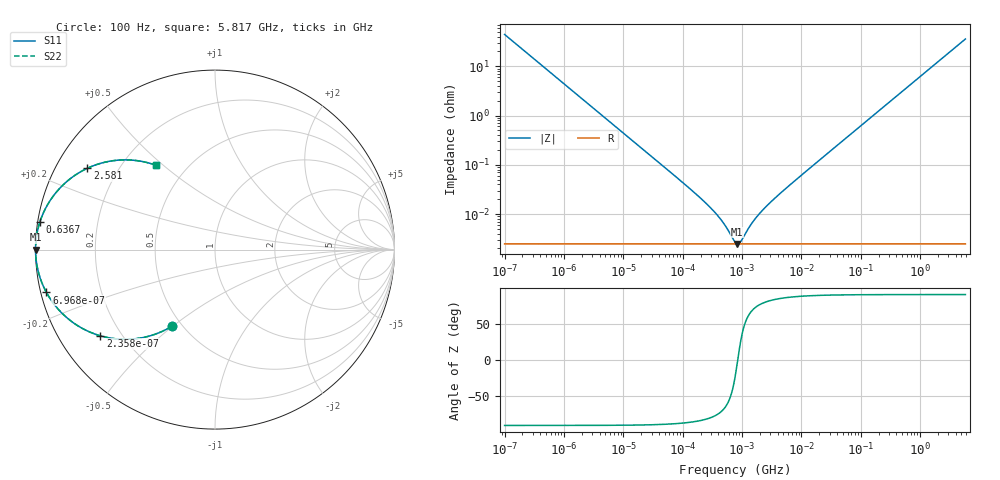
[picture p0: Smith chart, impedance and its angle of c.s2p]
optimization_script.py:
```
import math
import numpy as np
from matplotlib import pyplot
from scipy.optimize import curve_fit
import skrf as rf
from pylab import *
import subprocess
from scipy.optimize import minimize
import os
from reportlab.pdfgen.canvas import Canvas
from reportlab.pdfbase import pdfdoc
from scipy.interpolate import interp1d
import datetime



# Modify the circuit files to adjust the number of generated frequency points
def modifyCircuitFile(path):
    with open(path, 'r') as file:
        lines = file.readlines()

    index = 0
    for line in lines:
        if line.startswith('.sp'):
            lines[index] = '.sp dec 51 100 6G\n'
        
        index += 1

    with open(path, 'w') as file:
        file.writelines(lines)

    return None


# Generates the error based on the difference between the absolute value of the target and generated Z params
# The function is minimized later in the code as part of the optimization of the generated Z params
def s_param_error_RLC(x):
    R = x[0]
    L = x[1]
    C = x[2]

    params_path = ngspice + 'param.txt'
    with open(params_path, 'w') as paramf:
        paramf.write('.param C=%.20f L=%.20f R=%.20f' % (C, L, R))
    
    subprocess.call('ngspice.exe C.cir', shell=True)

    test_z21 = circuitCalculations()

    test_z21 = np.abs(test_z21)
    target_z = np.abs(z)
    error = np.abs(target_z - test_z21)

    return np.sum(error)


# Generates the error for the complex circuit model
def s_param_error_complex(x):
    Cnom = x[0]
    Rlfloss = x[1]
    Lmount = x[2]
    Rhfskin = x[3]
    Lhfskin = x[4]
    Rmfskin = x[5]
    Llfskin = x[6]
    Rlfskin = x[7]

    params_path = ngspice + 'paramcomplex.txt'
    with open(params_path, 'w') as paramf:
        paramf.write('.param Cnom=%.20f Rlfloss=%.20f Lmount=%.20f Rhfskin=%.20f Lhfskin=%.20f Rmfskin=%.20f Llfskin=%.20f Rlfskin=%.20f' % (Cnom, Rlfloss, Lmount, Rhfskin, Lhfskin, Rmfskin, Llfskin, Rlfskin))

    subprocess.call('ngspice.exe C_complex.cir', shell=True)

    test_z21 = circuitCalculations()

    test_z21 = np.abs(test_z21)
    target_z = np.abs(z)
    error = np.abs(target_z - test_z21)

    return np.sum(error)


# Given the parameters, generates graphs to be used in the PDF report as PNG images
# Defined as a function to avoid boilerplate due to large number of images
def plotGraph(noPlots, title, x, y, label, name, oPlot):
    pyplot.title(title)

    for i in range(noPlots):
        plotLines = '-'
        if oPlot == 1 and i % 2 == 0:
            plotLines = 'o'
        pyplot.plot(x[i], y[i], plotLines, label=label[i])

    pyplot.legend(loc='best')

    pyplot.xlabel('Frequency[Hz]')
    pyplot.ylabel('Impedance[Ohm]')
    pyplot.xscale('log')
    pyplot.yscale('log')
    pyplot.grid()

    pyplot.savefig(name, dpi=300)

    pyplot.clf()
    return None


# Given a path to the S params file, interpolates the values based on the frequencies and converts to absolute Z value, if the model is series
# Again, defined as a function to avoid boilerplate and clean the code up a bit
def getZSeries(path):
    ntwk = rf.Network(path)
    f = ntwk.f
    s = ntwk.s

    s11_interp = interp1d(f, s[:, 0, 0], kind='cubic')
    s12_interp = interp1d(f, s[:, 0, 1], kind='cubic')
    s21_interp = interp1d(f, s[:, 1, 0], kind='cubic')
    s22_interp = interp1d(f, s[:, 1, 1], kind='cubic')

    start_index = math.log10(f[0])
    stop_index = math.log10(f[-1])
    f = np.logspace(start_index, stop_index, 397, base=10)
    f[-1] -= 1

    s_params_interp = np.zeros((len(f), 2, 2), dtype=np.complex128)
    s_params_interp[:, 0, 0] = s11_interp(f) 
    s_params_interp[:, 0, 1] = s12_interp(f)
    s_params_interp[:, 1, 0] = s21_interp(f)
    s_params_interp[:, 1, 1] = s22_interp(f)

    y = rf.s2y(s=s_params_interp, z0=ntwk.z0[0,0])
    y21 = y[:,1,0]
    z = np.array([])

    for i in range(y21.size):
        z = np.append(z, 1 / y21[i])
    
    f_z = [f, z]
    return f_z


# Given a path to the S params file, interpolates the values based on the frequencies and converts to absolute Z value, if the model is shunt
# Again, defined as a function to avoid boilerplate and clean the code up a bit
def getZShunt(path):
    ntwk = rf.Network(path)
    f = ntwk.f
    s = ntwk.s

    s11_interp = interp1d(f, s[:, 0, 0], kind='cubic')
    s12_interp = interp1d(f, s[:, 0, 1], kind='cubic')
    s21_interp = interp1d(f, s[:, 1, 0], kind='cubic')
    s22_interp = interp1d(f, s[:, 1, 1], kind='cubic')

    start_index = math.log10(f[0])
    stop_index = math.log10(f[-1])
    f = np.logspace(start_index, stop_index, 397, base=10)
    f[-1] -= 1

    s_params_interp = np.zeros((len(f), 2, 2), dtype=np.complex128)
    s_params_interp[:, 0, 0] = s11_interp(f) 
    s_params_interp[:, 0, 1] = s12_interp(f)
    s_params_interp[:, 1, 0] = s21_interp(f)
    s_params_interp[:, 1, 1] = s22_interp(f)

    z = rf.s2z(s=s_params_interp, z0=ntwk.z0[0,0])
    z = z[:,1,0]
    
    f_z = [f, z]
    return f_z


# Defines the RLC values to be used as heuristics based on simple impedance formulas for series RLC circuit
# Not necessarily accurate, but the optimization takes care of that
def heuristics(f, z):
    z = np.abs(z)
    r = np.amin(z)

    low_f = float(f[0])
    low_f_z = float(z[0])
    z_c = math.sqrt(pow(low_f_z, 2) - pow(r, 2))

    c = 1 / (z_c * 2 * math.pi * low_f)

    resonant_index = np.where(z == r)
    res_f = float(f[resonant_index])
    resonant_w = res_f * 2 * math.pi

    l = 1 / (c * pow(resonant_w, 2))
    x = [r, l, c]
    return x


# Defines the values to be used as heuristics for the complex model
# Calculation of values is based on Figure 9 of document present in directory
def heuristics_complex(f, z):
    re_z = np.real(z)
    im_z = np.imag(z)

    low_f = float(f[0])
    z_c = math.sqrt(pow(float(im_z[0]), 2))
    c = 1 / (z_c * 2 * math.pi * low_f)

    r_lfloss = pow(float(im_z[0]), 2) / abs(re_z[0])
    r_hfskin = abs(float(re_z[-1]))
    r_mfskin = abs(r_hfskin) / 8

    high_f = float(f[-1])
    z_l = math.sqrt(pow(float(im_z[-1]), 2))
    l = z_l / (2 * math.pi * high_f)

    x = [l, c, r_lfloss, r_hfskin, r_mfskin, r_mfskin]
    return x


# Specifies the type of model, the path to ngspice, the path to the target S params and the complexity of the circuit
# Additional info in readme.txt
def configuration():
    file = open('config.txt')
    lines = file.readlines()
    model = ''
    ngspice = ''
    spath = ''
    circuit = ''
    for line in lines:
        line = line.lower()
        line = line.rstrip()
        if line.startswith('#'):
            continue
        else:
            splits = line.split('=')
            if splits[0] == 'model':
                model = splits[1]
            elif splits[0] == 'ngspice':
                ngspice = splits[1]
            elif splits[0] == 'spath':
                spath = splits[1]
            elif splits[0] == 'circuit':
                circuit = splits[1]

    x = [model, ngspice, spath, circuit]
    return x


# Calculates the Z params after the appropriate model (either series RLC or complex) has been loaded and filled with parameters
def circuitCalculations():
    ntwk = rf.Network('c.s2p')
    test_s = ntwk.s
    test_y = rf.s2y(s=test_s, z0=ntwk.z0[0,0])
    test_z = rf.y2z(y=test_y)
    test_z21 = test_z[:,1,0]

    y = np.array([])

    for i in range(test_z21.size):
        y = np.append(y, test_z21[i])

    return y



x = configuration()
model = x[0]
ngspice = x[1]
spath = x[2]
circuit = x[3]

if model == 'series':
    f_z = getZSeries(spath)
if model == 'shunt':
    f_z = getZShunt(spath)

f = f_z[0]
z = f_z[1]

if circuit == 'rlc':
    x = heuristics(f, z)
    r_heur = x[0]
    l_heur = x[1]
    c_heur = x[2]

if circuit == 'complex':
    x = heuristics_complex(f, z)
    Lmount_heur = x[0]
    Cnom_heur = x[1]
    Rlfloss_heur = x[2]
    Rhfskin_heur = x[3]
    Rmfskin_heur = x[4]
    Rlfskin_heur = x[5]


original_dir = os.getcwd()

os.chdir(ngspice)

# Calculate equivalent values for series RLC circuit
if circuit == 'rlc':
    modifyCircuitFile('C.cir')
    rlc_test = [r_heur, l_heur, c_heur]
    bounds = [(0.01 * r_heur, 100 * r_heur), (0.01 * l_heur, 100 * l_heur), (0.01 * c_heur, 100 * c_heur)]
    result = minimize(s_param_error_RLC, rlc_test, bounds=bounds, method='Nelder-Mead', options={'maxiter': 100})

    r_final = result.x[0]
    l_final = result.x[1]
    c_final = result.x[2]

    params_path = 'param.txt'
    with open(params_path, 'w') as paramf:
        paramf.write('.param C=%.20f L=%.20f R=%.20f' % (c_final, l_final, r_final))
        
    subprocess.call('ngspice.exe C.cir', shell=True)

    y = circuitCalculations()   

    with open(params_path, 'w') as paramf:
        paramf.write('.param C=%.20f L=%.20f R=%.20f' % (c_heur, l_heur, r_heur))

    subprocess.call('ngspice.exe C.cir', shell=True)

    y_heur = circuitCalculations()


# Calculate equivalent values for complex circuit
if circuit == 'complex':
    modifyCircuitFile('C_complex.cir')
    rlc_test = [Cnom_heur, Rlfloss_heur, Lmount_heur, Rhfskin_heur, Lmount_heur * 0.1, Rmfskin_heur, Lmount_heur * 0.1, Rlfskin_heur]
    bounds = [(Cnom_heur, Cnom_heur), (0.01 * Rlfloss_heur, 100 * Rlfloss_heur), (0.01 * Lmount_heur, 100 * Lmount_heur), (0.01 * Rhfskin_heur, 100 * Rhfskin_heur), (0.001 * Lmount_heur, 10 * Lmount_heur), (0.01 * Rmfskin_heur, 100 * Rmfskin_heur), (0.001 * Lmount_heur, 10 * Lmount_heur), (0.01 * Rlfskin_heur, 100 * Rlfskin_heur)]
    result = minimize(s_param_error_complex, rlc_test, bounds=bounds, method='Nelder-Mead', options={'maxiter': 100})

    Cnom = result.x[0]
    Rlfloss = result.x[1]
    Lmount = result.x[2]
    Rhfskin = result.x[3]
    Lhfskin = result.x[4]
    Rmfskin = result.x[5]
    Llfskin = result.x[6]
    Rlfskin = result.x[7]

    params_path = ngspice + 'paramcomplex.txt'
    with open(params_path, 'w') as paramf:
        paramf.write('.param Cnom=%.20f Rlfloss=%.20f Lmount=%.20f Rhfskin=%.20f Lhfskin=%.20f Rmfskin=%.20f Llfskin=%.20f Rlfskin=%.20f' % (Cnom, Rlfloss, Lmount, Rhfskin, Lhfskin, Rmfskin, Llfskin, Rlfskin))

    subprocess.call('ngspice.exe C_complex.cir', shell=True)

    y = circuitCalculations()

    with open(params_path, 'w') as paramf:
        paramf.write('.param Cnom=%.20f Rlfloss=%.20f Lmount=%.20f Rhfskin=%.20f Lhfskin=%.20f Rmfskin=%.20f Llfskin=%.20f Rlfskin=%.20f' % (Cnom_heur, Rlfloss_heur, Lmount_heur, Rhfskin_heur, Lmount_heur * 0.1, Rmfskin_heur, Lmount_heur * 0.1, Rlfskin_heur))

    subprocess.call('ngspice.exe C_complex.cir', shell=True)

    y_heur = circuitCalculations()


os.chdir(original_dir)

target = np.array([])

for i in range(z.size):
    target = np.append(target, z[i])


for i in range(z.size-5, z.size):
    print('Frequency: ' + str(f[i]))
    print('Generated real: ' + str(real(y[i])))
    print('Target real: ' + str(real(z[i])))

plotGraph(2, 'Target and generated absolute impedance values', [f, f], [np.abs(target), np.abs(y)], ['Target data for component', 'Fitted data(absolute value)'], 'abs_target_fitted.png', 1)
plotGraph(2, 'Target and generated equivalent series resistance', [f, f], [np.abs(np.real(target)), np.abs(np.real(y))], ['Target data for component', 'Fitted data(real value)'], 'real_target_fitted.png', 0)

# PDF report generation
now = datetime.datetime.now()

spath = str(spath)
header = spath.split('/')[-1].split('_')[0]
canvas = Canvas('report.pdf')
title = 'Component name: ' + header
canvas.drawString(100, canvas._pagesize[1] - 25, title)
canvas.drawString(100, canvas._pagesize[1] - 50, 'Input file: c.s2p')
canvas.drawString(100, canvas._pagesize[1] - 75, 'Date of generation: ' + now.strftime("%Y-%m-%d"))

if circuit == 'rlc':
    canvas.drawString(100, canvas._pagesize[1] - 100, 'Circuit type: series RLC')

    plotGraph(2, 'Values after applying heuristics', [f, f], [np.abs(target), np.abs(y_heur)], ['Target data for component', 'Data after applying heuristics'], 'heuristic.png', 1)
    canvas.drawString(100, canvas._pagesize[1] - 125, 'Heuristic values: R = %.2e Ohm, L = %.2e H, C = %.2e F' % (r_heur, l_heur, c_heur))
    canvas.drawString(100, canvas._pagesize[1] - 150, 'Values after optimization: R = %.2e Ohm, L = %.2e H, C = %.2e F' % (r_final, l_final, c_final))

if circuit == 'complex':
    canvas.drawString(100, canvas._pagesize[1] - 100, 'Circuit type: complex')

    plotGraph(2, 'Values after applying heuristics', [f, f], [np.abs(target), np.abs(y_heur)], ['Target data for component', 'Data after applying heuristics'], 'heuristic.png', 1)

    canvas.drawString(100, canvas._pagesize[1] - 125, 'Heuristic values:')
    canvas.drawString(100, canvas._pagesize[1] - 150, 'Cnom=%.2e F, Rlfloss=%.2e Ohm, Lmount=%.2e H, Rhfskin=%.2e Ohm,' % (Cnom_heur, Rlfloss_heur, Lmount_heur, Rhfskin_heur))
    canvas.drawString(100, canvas._pagesize[1] - 175, 'Lhfskin=%.2e H, Rmfskin=%.2e Ohm, Llfskin=%.2e H, Rlfskin=%.2e Ohm' % (Lmount_heur * 0.1, Rmfskin_heur, Lmount_heur * 0.1, Rlfskin_heur))
    canvas.drawString(100, canvas._pagesize[1] - 200, 'Values after optimization:')
    canvas.drawString(100, canvas._pagesize[1] - 225, 'Cnom=%.2e F, Rlfloss=%.2e Ohm, Lmount=%.2e H, Rhfskin=%.2e Ohm,' % (Cnom, Rlfloss, Lmount, Rhfskin))
    canvas.drawString(100, canvas._pagesize[1] - 250, 'Lhfskin=%.2e H, Rmfskin=%.2e Ohm, Llfskin=%.2e H, Rlfskin=%.2e Ohm' % (Lhfskin, Rmfskin, Llfskin, Rlfskin))

    canvas.showPage()
    canvas.drawString(100, canvas._pagesize[1] - 25, 'Image representation of complex circuit model:')
    canvas.drawImage('Complex_circuit.png', 50, canvas._pagesize[1] - 525, width=495, height=495)


canvas.showPage()
canvas.drawImage('heuristic.png', 50, canvas._pagesize[1] - 525, width=495, height=495)
canvas.showPage()
canvas.drawImage('abs_target_fitted.png', 50, canvas._pagesize[1] - 525, width=495, height=495)
canvas.showPage()
canvas.drawImage('real_target_fitted.png', 50, canvas._pagesize[1] - 525, width=495, height=495)
canvas.showPage()


canvas.save()
```
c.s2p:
!2-port S-parameter file
!Title: ** capacitor model
!Generated by ngspice at Sun Jun  4 15:54:23  2023
# Hz S RI R 50
!freq  ReS11  ImS11  ReS21  ImS21  ReS12  ImS12  ReS22  ImS22
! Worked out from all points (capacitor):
!   397 points, 100 Hz to 5.817 GHz, reference 50 ohm
!   read as one part in shunt: C = 35.9 uF near 104.6 Hz
!   lowest |Z| = 2.48 mohm at 834.8 kHz (marker M1)
!   series resonance near 848.1 kHz, so ESL is about 980 pH
!   S11 on the Smith chart (normalised r, x): 100 Hz: 0.44, -0.50; 235.8 Hz: 0.12, -0.33; 696.8 Hz: 0.02, -0.13; 636.7 MHz: 0.01, +0.08; 2.581 GHz: 0.09, +0.29; 5.817 GHz: 0.34, +0.47
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100  -0.2416 -0.428  0.7584 -0.428  0.7584 -0.428  -0.2416 -0.428
235.8028  -0.6391 -0.4802  0.3609 -0.4802  0.3609 -0.4802  -0.6391 -0.4802
696.8467  -0.9392 -0.2388  0.0608 -0.2388  0.0608 -0.2388  -0.9392 -0.2388
4240.831  -0.9982 -0.0417  0.00184 -0.0417  0.00184 -0.0417  -0.9982 -0.0417
205932.8  -0.9999 -0.000809  9.96e-05 -0.000809  9.96e-05 -0.000809  -0.9999 -0.000809
762698.6  -0.9999 -4.43e-05  9.89e-05 -4.43e-05  9.89e-05 -4.43e-05  -0.9999 -4.43e-05
834773.4  -0.9999 -6.53e-06  9.89e-05 -6.53e-06  9.89e-05 -6.53e-06  -0.9999 -6.53e-06
3540133  -0.9999 0.000822  9.96e-05 0.000822  9.96e-05 0.000822  -0.9999 0.000822
6.366805e8  -0.9759 0.1531  0.0241 0.1531  0.0241 0.1531  -0.9759 0.1531
2.580862e9  -0.712 0.4528  0.288 0.4528  0.288 0.4528  -0.712 0.4528
5.817091e9  -0.3274 0.4692  0.6726 0.4692  0.6726 0.4692  -0.3274 0.4692
